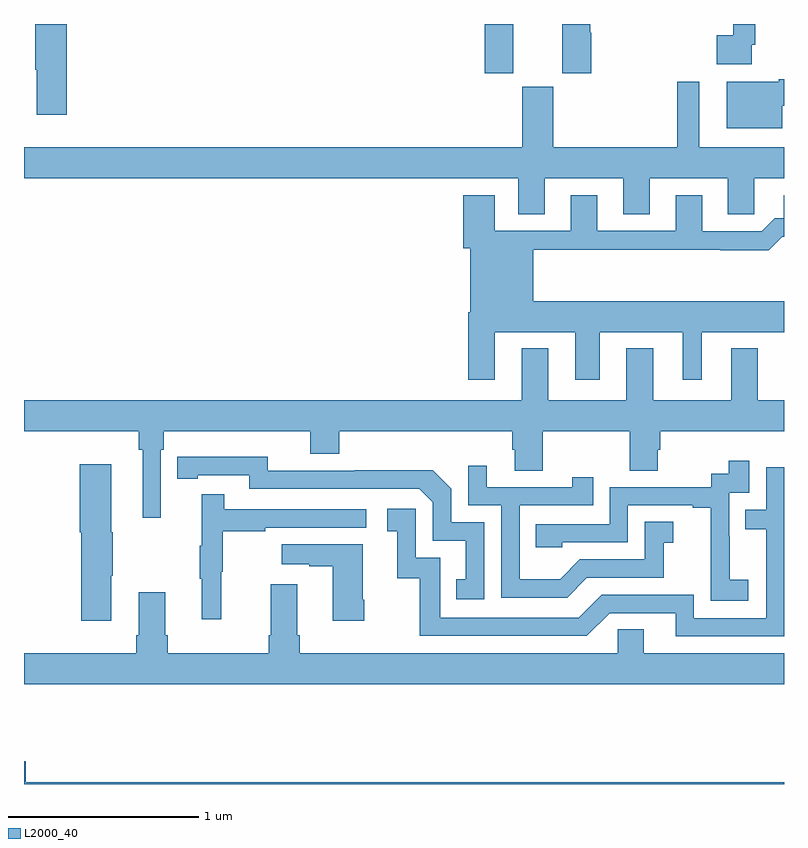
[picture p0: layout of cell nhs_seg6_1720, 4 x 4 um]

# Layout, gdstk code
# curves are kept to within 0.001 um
import gdstk
lib = gdstk.Library(unit=1e-6, precision=1e-09)
def R(c, l, rs):  # rectangles x0, y0, x1, y1
    for r in rs: c.add(gdstk.rectangle(r[:2], r[2:], *l))
def P(c, l, *ps):  # polygons
    for p in ps: c.add(gdstk.Polygon(p, *l))
L2000_40 = (2000, 40)

nhs_seg6_1720 = lib.new_cell('nhs_seg6_1720')
R(nhs_seg6_1720, L2000_40, [(217.424,929.241,217.576,929.5)])
P(nhs_seg6_1720, L2000_40, [(218.829,929.392),(218.849,929.392),(218.849,929.5),(218.732,929.5),(218.732,929.441),(218.646,929.441),(218.646,929.288),(218.829,929.288)],
  [(215.225,929.5),(215.059,929.5),(215.059,929.26),(215.066,929.26),(215.066,929.022),(215.225,929.022)],
  [(217.985,929.453),(217.98,929.453),(217.98,929.5),(217.832,929.5),(217.832,929.241),(217.985,929.241)],
  [(218.992,929.069),(219,929.069),(219,929.21),(218.972,929.21),(218.972,929.197),(218.699,929.197),(218.699,928.952),(218.992,928.952)],
  [(217.741,928.688),(218.153,928.688),(218.153,928.498),(218.293,928.498),(218.293,928.688),(218.705,928.688),(218.705,928.498),(218.844,928.498),(218.844,928.688),(219,928.688),(219,928.852),(218.554,928.852),(218.554,929.197),(218.437,929.197),(218.437,928.852),(217.786,928.852),(217.786,929.169),(217.622,929.169),(217.622,928.852),(215,928.852),(215,928.688),(217.601,928.688),(217.601,928.498),(217.741,928.498)],
  [(217.477,927.878),(217.901,927.878),(217.901,927.627),(218.029,927.627),(218.029,927.878),(218.468,927.878),(218.468,927.627),(218.566,927.627),(218.566,927.878),(219,927.878),(219,928.042),(217.681,928.042),(217.681,928.312),(218.665,928.312),(218.665,928.31),(218.921,928.31),(218.99,928.379),(219,928.379),(219,928.6),(218.999,928.477),(218.95,928.477),(218.883,928.41),(218.569,928.41),(218.569,928.6),(218.429,928.6),(218.429,928.413),(218.017,928.413),(218.017,928.6),(217.877,928.6),(217.877,928.413),(217.477,928.413),(217.477,928.6),(217.313,928.6),(217.313,928.32),(217.349,928.32),(217.349,927.982),(217.337,927.982),(217.337,927.627),(217.477,927.627)],
  [(215.721,927.26),(215.735,927.26),(215.735,927.356),(216.506,927.356),(216.506,927.239),(216.659,927.239),(216.659,927.356),(217.571,927.356),(217.571,927.258),(217.583,927.258),(217.583,927.148),(217.731,927.148),(217.731,927.356),(218.188,927.356),(218.188,927.148),(218.335,927.148),(218.335,927.258),(218.348,927.258),(218.348,927.356),(219,927.356),(219,927.52),(218.863,927.52),(218.863,927.793),(218.723,927.793),(218.723,927.52),(218.311,927.52),(218.311,927.793),(218.171,927.793),(218.171,927.52),(217.759,927.52),(217.759,927.793),(217.619,927.793),(217.619,927.52),(215,927.52),(215,927.356),(215.605,927.356),(215.605,927.26),(215.624,927.26),(215.624,926.901),(215.721,926.901)],
  [(217.422,926.877),(217.248,926.877),(217.248,927.054),(217.15,927.152),(216.742,927.152),(216.742,927.15),(216.282,927.15),(216.282,927.223),(215.806,927.222),(215.806,927.106),(215.914,927.106),(215.914,927.126),(216.186,927.126),(216.186,927.054),(217.08,927.054),(217.152,926.982),(217.152,926.781),(217.325,926.781),(217.325,926.577),(217.276,926.577),(217.276,926.472),(217.422,926.472)],
  [(218.812,926.575),(218.714,926.575),(218.714,926.804),(218.712,926.804),(218.712,927.033),(218.817,927.033),(218.817,927.202),(218.709,927.202),(218.709,927.132),(218.616,927.132),(218.616,927.063),(218.082,927.063),(218.082,926.868),(217.693,926.868),(217.693,926.745),(217.833,926.745),(217.833,926.772),(218.178,926.772),(218.178,926.967),(218.519,926.967),(218.519,926.955),(218.615,926.955),(218.615,926.671),(218.614,926.671),(218.614,926.465),(218.812,926.465)],
  [(215.458,926.596),(215.466,926.596),(215.466,926.826),(215.458,926.826),(215.458,927.184),(215.294,927.184),(215.294,926.826),(215.3,926.826),(215.3,926.358),(215.458,926.358)],
  [(217.963,926.586),(218.367,926.586),(218.367,926.771),(218.416,926.771),(218.416,926.881),(218.268,926.881),(218.268,926.682),(217.926,926.682),(217.822,926.578),(217.608,926.578),(217.608,926.967),(217.997,926.967),(217.997,927.115),(217.886,927.115),(217.886,927.063),(217.435,927.063),(217.435,927.175),(217.338,927.175),(217.338,926.967),(217.512,926.967),(217.512,926.481),(217.858,926.481)],
  [(219,927.168),(218.907,927.168),(218.907,926.943),(218.797,926.943),(218.797,926.842),(218.907,926.842),(218.907,926.373),(218.526,926.373),(218.526,926.496),(218.04,926.496),(217.92,926.376),(217.191,926.376),(217.191,926.691),(217.062,926.691),(217.062,926.95),(216.912,926.95),(216.912,926.829),(216.965,926.829),(216.965,926.583),(217.083,926.583),(217.083,926.28),(217.962,926.28),(218.082,926.4),(218.429,926.4),(218.429,926.277),(219,926.277)],
  [(216.038,926.616),(216.046,926.616),(216.046,926.83),(216.269,926.83),(216.269,926.85),(216.802,926.85),(216.802,926.946),(216.053,926.946),(216.053,927.025),(215.936,927.025),(215.936,926.753),(215.925,926.753),(215.925,926.579),(215.936,926.579),(215.936,926.367),(216.038,926.367)],
  [(216.792,926.47),(216.784,926.47),(216.784,926.761),(216.357,926.761),(216.357,926.657),(216.5,926.657),(216.5,926.647),(216.626,926.647),(216.626,926.358),(216.792,926.358)],
  [(219,926.188),(218.263,926.188),(218.263,926.315),(218.124,926.315),(218.124,926.188),(216.452,926.188),(216.452,926.284),(216.439,926.284),(216.439,926.551),(216.299,926.551),(216.299,926.284),(216.287,926.284),(216.287,926.188),(215.756,926.188),(215.756,926.284),(215.743,926.284),(215.743,926.509),(215.603,926.509),(215.603,926.284),(215.591,926.284),(215.591,926.188),(215,926.188),(215,926.024),(219,926.024)],
  [(219,925.508),(215.008,925.508),(215.008,925.621),(215,925.621),(215,925.5),(219,925.5)])

lib.write_gds('nhs_seg6_1720.gds')
